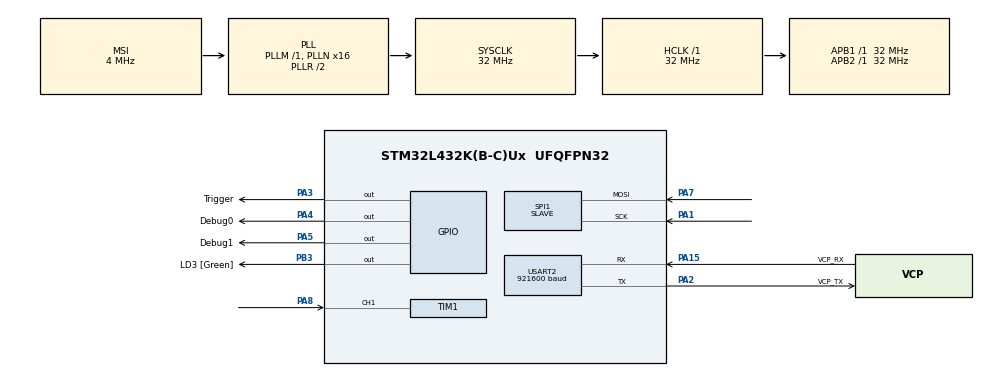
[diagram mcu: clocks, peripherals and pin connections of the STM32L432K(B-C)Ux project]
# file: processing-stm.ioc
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Dma.Request0=USART2_TX
Dma.Request1=SPI1_RX
Dma.SPI1_RX.1.Direction=DMA_PERIPH_TO_MEMORY
Dma.SPI1_RX.1.Instance=DMA1_Channel2
Dma.SPI1_RX.1.MemDataAlignment=DMA_MDATAALIGN_HALFWORD
Dma.SPI1_RX.1.MemInc=DMA_MINC_ENABLE
Dma.SPI1_RX.1.Mode=DMA_CIRCULAR
Dma.SPI1_RX.1.PeriphDataAlignment=DMA_PDATAALIGN_HALFWORD
Dma.SPI1_RX.1.PeriphInc=DMA_PINC_DISABLE
Dma.SPI1_RX.1.Priority=DMA_PRIORITY_LOW
Dma.USART2_TX.0.Direction=DMA_MEMORY_TO_PERIPH
Dma.USART2_TX.0.Instance=DMA1_Channel7
Dma.USART2_TX.0.MemDataAlignment=DMA_MDATAALIGN_BYTE
Dma.USART2_TX.0.MemInc=DMA_MINC_ENABLE
Dma.USART2_TX.0.Mode=DMA_NORMAL
Dma.USART2_TX.0.PeriphDataAlignment=DMA_PDATAALIGN_BYTE
Dma.USART2_TX.0.PeriphInc=DMA_PINC_DISABLE
Dma.USART2_TX.0.Priority=DMA_PRIORITY_LOW
Mcu.Family=STM32L4
Mcu.Name=STM32L432K(B-C)Ux
Mcu.Package=UFQFPN32
NVIC.DMA1_Channel2_IRQn=true\:0\:0\:false\:false\:true\:false\:true\:true
NVIC.DMA1_Channel7_IRQn=true\:0\:0\:false\:false\:true\:false\:true\:true
NVIC.PriorityGroup=NVIC_PRIORITYGROUP_4
NVIC.SPI1_IRQn=true\:0\:0\:false\:false\:true\:true\:true\:true
NVIC.TIM1_BRK_TIM15_IRQn=true\:0\:0\:false\:false\:true\:true\:true\:true
NVIC.TIM1_CC_IRQn=true\:0\:0\:false\:false\:true\:true\:true\:true
NVIC.TIM1_TRG_COM_IRQn=true\:0\:0\:false\:false\:true\:true\:true\:true
NVIC.TIM1_UP_TIM16_IRQn=true\:0\:0\:false\:false\:true\:true\:true\:true
NVIC.USART2_IRQn=true\:0\:0\:false\:false\:true\:true\:true\:true
PA0.GPIO_Label=MCO [High speed clock in]
PA0.Mode=HSE-External-Clock-Source-for-LittleOrca
PA0.Signal=RCC_CK_IN
PA1.Mode=RX_Only_Simplex_Unidirect_Slave
PA1.Signal=SPI1_SCK
PA13\ (JTMS-SWDIO).GPIO_Label=SWDIO
PA13\ (JTMS-SWDIO).Mode=Serial_Wire
PA13\ (JTMS-SWDIO).Signal=SYS_JTMS-SWDIO
PA14\ (JTCK-SWCLK).GPIO_Label=SWCLK
PA14\ (JTCK-SWCLK).Mode=Serial_Wire
PA14\ (JTCK-SWCLK).Signal=SYS_JTCK-SWCLK
PA15\ (JTDI).GPIO_Label=VCP_RX
PA15\ (JTDI).Mode=Asynchronous
PA15\ (JTDI).Signal=USART2_RX
PA2.GPIO_Label=VCP_TX
PA2.Mode=Asynchronous
PA2.Signal=USART2_TX
PA3.GPIO_Label=Trigger
PA3.Signal=GPIO_Output
PA4.GPIO_Label=Debug0
PA4.Signal=GPIO_Output
PA5.GPIO_Label=Debug1
PA5.Signal=GPIO_Output
PA7.Mode=RX_Only_Simplex_Unidirect_Slave
PA7.Signal=SPI1_MOSI
PA8.Signal=S_TIM1_CH1
PB3\ (JTDO-TRACESWO).GPIO_Label=LD3 [Green]
PB3\ (JTDO-TRACESWO).Signal=GPIO_Output
PC14-OSC32_IN\ (PC14).Mode=LSE-External-Oscillator
PC14-OSC32_IN\ (PC14).Signal=RCC_OSC32_IN
PC15-OSC32_OUT\ (PC15).Mode=LSE-External-Oscillator
PC15-OSC32_OUT\ (PC15).Signal=RCC_OSC32_OUT
ProjectManager.HeapSize=0x200
ProjectManager.StackSize=0x400
ProjectManager.TargetToolchain=STM32CubeIDE
RCC.AHBFreq_Value=32000000
RCC.APB1Freq_Value=32000000
RCC.APB1TimFreq_Value=32000000
RCC.APB2Freq_Value=32000000
RCC.APB2TimFreq_Value=32000000
RCC.CortexFreq_Value=32000000
RCC.HCLKFreq_Value=32000000
RCC.HSE_VALUE=8000000
RCC.HSI16_VALUE=16000000
RCC.HSI48_VALUE=48000000
RCC.HSI_VALUE=16000000
RCC.MSI_VALUE=4000000
RCC.PLLMUL=RCC_PLLMUL_4
RCC.PLLN=16
RCC.SYSCLKFreq_VALUE=32000000
RCC.SYSCLKSource=RCC_SYSCLKSOURCE_PLLCLK
RCC.VCOOutputFreq_Value=64000000
SH.S_TIM1_CH1.0=TIM1_CH1,Input_Capture1_from_TI1
SPI1.CRCCalculation=SPI_CRCCALCULATION_DISABLE
SPI1.DataSize=SPI_DATASIZE_16BIT
SPI1.Direction=SPI_DIRECTION_2LINES_RXONLY
SPI1.Mode=SPI_MODE_SLAVE
SPI1.VirtualType=VM_SLAVE
TIM1.Channel-Input_Capture1_from_TI1=TIM_CHANNEL_1
TIM1.Channel-Input_Capture2_from_TI1_63=TIM_CHANNEL_2
TIM1.ICPolarity_CH2=TIM_INPUTCHANNELPOLARITY_FALLING
TIM1.Prescaler=31
TIM16.Prescaler=31
TIM6.Prescaler=31
USART2.BaudRate=921600
USART2.VirtualMode-Asynchronous=VM_ASYNC
VP_TIM16_VS_ClockSourceINT.Mode=Enable_Timer
VP_TIM1_VS_indirect_ch1.Mode=Input_Capture2_from_TI1_63
VP_TIM6_VS_ClockSourceINT.Mode=Enable_Timer
board=NUCLEO-L432KC

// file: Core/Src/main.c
/* USER CODE BEGIN Header */
/**
  ******************************************************************************
  * @file           : main.c
  * @brief          : Main program body
  ******************************************************************************
  * @attention
  *
  * Copyright (c) 2026 STMicroelectronics.
  * All rights reserved.
  *
  * This software is licensed under terms that can be found in the LICENSE file
  * in the root directory of this software component.
  * If no LICENSE file comes with this software, it is provided AS-IS.
  *
  ******************************************************************************
  */
/* USER CODE END Header */
#include "main.h"
#include "stdlib.h"
#include "string.h"

SPI_HandleTypeDef hspi1;
DMA_HandleTypeDef hdma_spi1_rx;

TIM_HandleTypeDef htim1;
TIM_HandleTypeDef htim6;
TIM_HandleTypeDef htim16;

UART_HandleTypeDef huart2;
DMA_HandleTypeDef hdma_usart2_tx;

/* USER CODE BEGIN PV */

uint16_t previous_valid_value = 1985;

uint16_t received_value = 0;

uint16_t filtered_value = 0;

uint8_t buffer_8bit_1[2048];
uint8_t buffer_8bit_2[2048];

volatile int buffer_idx = 0;

volatile uint16_t write_idx = 0;

volatile uint8_t send_buf_1 = 0;
volatile uint8_t send_buf_2 = 0;

uint8_t receieved_metadata[2];

volatile int mode = -1;

 float desired_recording_duration;
 int desired_distance;

 int sent_packets = 0;

/* USER CODE END PV */

void SystemClock_Config(void);
static void MX_GPIO_Init(void);
static void MX_DMA_Init(void);
static void MX_USART2_UART_Init(void);
static void MX_TIM16_Init(void);
static void MX_TIM6_Init(void);
static void MX_TIM1_Init(void);
static void MX_SPI1_Init(void);

/* USER CODE BEGIN 0 */

// using volatile so the compiler won't cache the variables as they may change suddenly
volatile uint16_t t_rise = 0;
volatile uint16_t t_fall = 0;
volatile uint16_t pulse_width = 0;
volatile uint8_t data_ready = 0;
volatile int pulse_sent = 0;

void HAL_TIM_IC_CaptureCallback(TIM_HandleTypeDef *htim)
{
    if (htim->Instance == TIM1)
    {
        // rising edge (CH1) (echo sent)
        if (htim->Channel == HAL_TIM_ACTIVE_CHANNEL_1)
        {
            t_rise = HAL_TIM_ReadCapturedValue(htim, TIM_CHANNEL_1);
        }

        // falling edge (CH2) (echo recieved)
        else if (htim->Channel == HAL_TIM_ACTIVE_CHANNEL_2)
        {
            t_fall = HAL_TIM_ReadCapturedValue(htim, TIM_CHANNEL_2);

            pulse_width = (uint16_t)(t_fall - t_rise); // calculate the pulse width

            data_ready = 1; // flag the ultrasonic sensor code that the data is ready
        }
    }
}

uint32_t echo_time = 0;
uint32_t distance = 0;

uint32_t last_trigger_time = 0; // for our timeout

uint8_t debounce_count = 0;

uint8_t target_mode;

void ultrasonic_manager() {
	if (data_ready) { //if we've received a response

		float distance_cm = (pulse_width * 0.0343f) / 2.0f;

		data_ready = 0;
		pulse_sent = 0;

		__HAL_TIM_SET_COUNTER(&htim6, 0);

		if (desired_distance >= distance_cm) {
			target_mode = 1; //record
		}

		else {
			target_mode = 2; //don't record
		}

		if (target_mode == mode) {
			debounce_count = 0; // already in correct mode
		}

		else {
			debounce_count++;
		}

		if (debounce_count >= 3 || mode == 3) //if this is our first reading, don't worry about debouncing
				{
			mode = target_mode;
			HAL_GPIO_WritePin(LD3_GPIO_Port, LD3_Pin, (mode == 1));

			debounce_count = 0;
		}

	}

	// timeout fail safe (if echo never comes back)
	if (pulse_sent == 1 && (HAL_GetTick() - last_trigger_time > 100)) { //if its been more than 100ms, reset.

		pulse_sent = 0;
		__HAL_TIM_SET_COUNTER(&htim6, 0);

		target_mode = 2; //obj must be out of range

		//update debounce and state appropriately

		if (target_mode == mode) {
			debounce_count = 0; // already in correct mode
		}

		else {
			debounce_count++;
		}

		if (debounce_count >= 3 || mode == 3) //if this is our first reading, don't worry about debouncing
				{
			mode = target_mode;
			HAL_GPIO_WritePin(LD3_GPIO_Port, LD3_Pin, (mode == 1));

			debounce_count = 0;
		}

	}

	//send a pulse if hasn't sent a pulse and its waited 60ms
	if (pulse_sent == 0 && __HAL_TIM_GET_COUNTER(&htim6) > 60000) {

		HAL_GPIO_WritePin(Trigger_GPIO_Port, Trigger_Pin, 1);
		__HAL_TIM_SET_COUNTER(&htim16, 0);
		pulse_sent = 1;
		last_trigger_time = HAL_GetTick(); // record when we send the pulse

	}

	// end pulse if lasted more than 10us
	if (pulse_sent == 1 && __HAL_TIM_GET_COUNTER(&htim16) > 10) {

		HAL_GPIO_WritePin(Trigger_GPIO_Port, Trigger_Pin, 0);

	}

	return;
}

uint16_t sample_buffer[2] = {1985, 1985};
uint32_t running_sum = 1985 * 2;
uint16_t sample_index = 0;

uint16_t moving_average(uint16_t new_sample)
{
    // subtract old sample
    running_sum -= sample_buffer[sample_index];

    // store new sample
    sample_buffer[sample_index] = new_sample;

    // add new sample
    running_sum += new_sample;

    // move index
    sample_index = (sample_index + 1) % 2;

    // divide by actual valid sample count
    return (uint16_t)(running_sum / 2);
}

/* USER CODE END 0 */

int main(void)
{

  /* MCU Configuration--------------------------------------------------------*/

  /* Reset of all peripherals, Initializes the Flash interface and the Systick. */
  HAL_Init();

  /* Configure the system clock */
  SystemClock_Config();

  /* Initialize all configured peripherals */
  MX_GPIO_Init();
  MX_DMA_Init();
  MX_USART2_UART_Init();
  MX_TIM16_Init();
  MX_TIM6_Init();
  MX_TIM1_Init();
  MX_SPI1_Init();

  /* Infinite loop */
  /* USER CODE BEGIN WHILE */

  //int16_t received_value;

  HAL_TIM_Base_Start(&htim16);
  HAL_TIM_Base_Start(&htim6);

  HAL_TIM_IC_Start_IT(&htim1, TIM_CHANNEL_1);
  HAL_TIM_IC_Start_IT(&htim1, TIM_CHANNEL_2);

  HAL_SPI_Receive_DMA(&hspi1, (uint8_t*)&received_value, 1);

  HAL_UART_Receive_IT(&huart2, (uint8_t*)receieved_metadata, 2); //setup interrupt for uart2

  huart2.Instance->CR3 |= USART_CR3_DMAT;

  float recording_duration;

  while (1) {

		if (mode >= 1) {
			ultrasonic_manager();
		}

		if (mode >= 0) {

			if (send_buf_1) {
				send_buf_1 = 0;
				sent_packets++; //add to tally of packets sent

				HAL_UART_Transmit_DMA(&huart2, buffer_8bit_1, 2048);
			}

			else if (send_buf_2) {
				send_buf_2 = 0;
				sent_packets++;

				HAL_UART_Transmit_DMA(&huart2, buffer_8bit_2, 2048);
			}

			if (mode == 0) { //normal mode
				recording_duration = sent_packets * 0.0232199546; //calculate duration of current recording, it takes 23.2ms to send 1 packet

				if (recording_duration >= desired_recording_duration) { //check if recording has taken longer than requested duration. check mode 0 cause we have interrupts everywhere
					mode = -1; // stop recording
					HAL_GPIO_WritePin(LD3_GPIO_Port, LD3_Pin, 0);
				}
			}
		}

		/* USER CODE END WHILE */

	}
}

void SystemClock_Config(void)
{
  RCC_OscInitTypeDef RCC_OscInitStruct = {0};
  RCC_ClkInitTypeDef RCC_ClkInitStruct = {0};

  /** Configure the main internal regulator output voltage
  */
  if (HAL_PWREx_ControlVoltageScaling(PWR_REGULATOR_VOLTAGE_SCALE1) != HAL_OK)
  {
    Error_Handler();
  }

  /** Configure LSE Drive Capability
  */
  HAL_PWR_EnableBkUpAccess();
  __HAL_RCC_LSEDRIVE_CONFIG(RCC_LSEDRIVE_LOW);

  /** Initializes the RCC Oscillators according to the specified parameters
  * in the RCC_OscInitTypeDef structure.
  */
  RCC_OscInitStruct.OscillatorType = RCC_OSCILLATORTYPE_LSE|RCC_OSCILLATORTYPE_MSI;
  RCC_OscInitStruct.LSEState = RCC_LSE_ON;
  RCC_OscInitStruct.MSIState = RCC_MSI_ON;
  RCC_OscInitStruct.MSICalibrationValue = 0;
  RCC_OscInitStruct.MSIClockRange = RCC_MSIRANGE_6;
  RCC_OscInitStruct.PLL.PLLState = RCC_PLL_ON;
  RCC_OscInitStruct.PLL.PLLSource = RCC_PLLSOURCE_MSI;
  RCC_OscInitStruct.PLL.PLLM = 1;
  RCC_OscInitStruct.PLL.PLLN = 16;
  RCC_OscInitStruct.PLL.PLLP = RCC_PLLP_DIV7;
  RCC_OscInitStruct.PLL.PLLQ = RCC_PLLQ_DIV2;
  RCC_OscInitStruct.PLL.PLLR = RCC_PLLR_DIV2;
  if (HAL_RCC_OscConfig(&RCC_OscInitStruct) != HAL_OK)
  {
    Error_Handler();
  }

  /** Initializes the CPU, AHB and APB buses clocks
  */
  RCC_ClkInitStruct.ClockType = RCC_CLOCKTYPE_HCLK|RCC_CLOCKTYPE_SYSCLK
                              |RCC_CLOCKTYPE_PCLK1|RCC_CLOCKTYPE_PCLK2;
  RCC_ClkInitStruct.SYSCLKSource = RCC_SYSCLKSOURCE_PLLCLK;
  RCC_ClkInitStruct.AHBCLKDivider = RCC_SYSCLK_DIV1;
  RCC_ClkInitStruct.APB1CLKDivider = RCC_HCLK_DIV1;
  RCC_ClkInitStruct.APB2CLKDivider = RCC_HCLK_DIV1;

  if (HAL_RCC_ClockConfig(&RCC_ClkInitStruct, FLASH_LATENCY_1) != HAL_OK)
  {
    Error_Handler();
  }

  /** Enable MSI Auto calibration
  */
  HAL_RCCEx_EnableMSIPLLMode();
}

static void MX_SPI1_Init(void)
{

  /* SPI1 parameter configuration*/
  hspi1.Instance = SPI1;
  hspi1.Init.Mode = SPI_MODE_SLAVE;
  hspi1.Init.Direction = SPI_DIRECTION_2LINES_RXONLY;
  hspi1.Init.DataSize = SPI_DATASIZE_16BIT;
  hspi1.Init.CLKPolarity = SPI_POLARITY_LOW;
  hspi1.Init.CLKPhase = SPI_PHASE_1EDGE;
  hspi1.Init.NSS = SPI_NSS_SOFT;
  hspi1.Init.FirstBit = SPI_FIRSTBIT_MSB;
  hspi1.Init.TIMode = SPI_TIMODE_DISABLE;
  hspi1.Init.CRCCalculation = SPI_CRCCALCULATION_DISABLE;
  hspi1.Init.CRCPolynomial = 7;
  hspi1.Init.CRCLength = SPI_CRC_LENGTH_DATASIZE;
  hspi1.Init.NSSPMode = SPI_NSS_PULSE_DISABLE;
  if (HAL_SPI_Init(&hspi1) != HAL_OK)
  {
    Error_Handler();
  }

}

static void MX_TIM1_Init(void)
{

  TIM_MasterConfigTypeDef sMasterConfig = {0};
  TIM_IC_InitTypeDef sConfigIC = {0};

  htim1.Instance = TIM1;
  htim1.Init.Prescaler = 31;
  htim1.Init.CounterMode = TIM_COUNTERMODE_UP;
  htim1.Init.Period = 65535;
  htim1.Init.ClockDivision = TIM_CLOCKDIVISION_DIV1;
  htim1.Init.RepetitionCounter = 0;
  htim1.Init.AutoReloadPreload = TIM_AUTORELOAD_PRELOAD_DISABLE;
  if (HAL_TIM_IC_Init(&htim1) != HAL_OK)
  {
    Error_Handler();
  }
  sMasterConfig.MasterOutputTrigger = TIM_TRGO_RESET;
  sMasterConfig.MasterOutputTrigger2 = TIM_TRGO2_RESET;
  sMasterConfig.MasterSlaveMode = TIM_MASTERSLAVEMODE_DISABLE;
  if (HAL_TIMEx_MasterConfigSynchronization(&htim1, &sMasterConfig) != HAL_OK)
  {
    Error_Handler();
  }
  sConfigIC.ICPolarity = TIM_INPUTCHANNELPOLARITY_RISING;
  sConfigIC.ICSelection = TIM_ICSELECTION_DIRECTTI;
  sConfigIC.ICPrescaler = TIM_ICPSC_DIV1;
  sConfigIC.ICFilter = 0;
  if (HAL_TIM_IC_ConfigChannel(&htim1, &sConfigIC, TIM_CHANNEL_1) != HAL_OK)
  {
    Error_Handler();
  }
  sConfigIC.ICPolarity = TIM_INPUTCHANNELPOLARITY_FALLING;
  sConfigIC.ICSelection = TIM_ICSELECTION_INDIRECTTI;
  if (HAL_TIM_IC_ConfigChannel(&htim1, &sConfigIC, TIM_CHANNEL_2) != HAL_OK)
  {
    Error_Handler();
  }

}

static void MX_TIM6_Init(void)
{

  TIM_MasterConfigTypeDef sMasterConfig = {0};

  htim6.Instance = TIM6;
  htim6.Init.Prescaler = 31;
  htim6.Init.CounterMode = TIM_COUNTERMODE_UP;
  htim6.Init.Period = 65535;
  htim6.Init.AutoReloadPreload = TIM_AUTORELOAD_PRELOAD_DISABLE;
  if (HAL_TIM_Base_Init(&htim6) != HAL_OK)
  {
    Error_Handler();
  }
  sMasterConfig.MasterOutputTrigger = TIM_TRGO_RESET;
  sMasterConfig.MasterSlaveMode = TIM_MASTERSLAVEMODE_DISABLE;
  if (HAL_TIMEx_MasterConfigSynchronization(&htim6, &sMasterConfig) != HAL_OK)
  {
    Error_Handler();
  }

}

static void MX_TIM16_Init(void)
{

  htim16.Instance = TIM16;
  htim16.Init.Prescaler = 31;
  htim16.Init.CounterMode = TIM_COUNTERMODE_UP;
  htim16.Init.Period = 65535;
  htim16.Init.ClockDivision = TIM_CLOCKDIVISION_DIV1;
  htim16.Init.RepetitionCounter = 0;
  htim16.Init.AutoReloadPreload = TIM_AUTORELOAD_PRELOAD_DISABLE;
  if (HAL_TIM_Base_Init(&htim16) != HAL_OK)
  {
    Error_Handler();
  }

}

static void MX_USART2_UART_Init(void)
{

  huart2.Instance = USART2;
  huart2.Init.BaudRate = 921600;
  huart2.Init.WordLength = UART_WORDLENGTH_8B;
  huart2.Init.StopBits = UART_STOPBITS_1;
  huart2.Init.Parity = UART_PARITY_NONE;
  huart2.Init.Mode = UART_MODE_TX_RX;
  huart2.Init.HwFlowCtl = UART_HWCONTROL_NONE;
  huart2.Init.OverSampling = UART_OVERSAMPLING_16;
  huart2.Init.OneBitSampling = UART_ONE_BIT_SAMPLE_DISABLE;
  huart2.AdvancedInit.AdvFeatureInit = UART_ADVFEATURE_NO_INIT;
  if (HAL_UART_Init(&huart2) != HAL_OK)
  {
    Error_Handler();
  }

}

static void MX_DMA_Init(void)
{

  /* DMA controller clock enable */
  __HAL_RCC_DMA1_CLK_ENABLE();

  /* DMA interrupt init */
  /* DMA1_Channel2_IRQn interrupt configuration */
  HAL_NVIC_SetPriority(DMA1_Channel2_IRQn, 0, 0);
  HAL_NVIC_EnableIRQ(DMA1_Channel2_IRQn);
  /* DMA1_Channel7_IRQn interrupt configuration */
  HAL_NVIC_SetPriority(DMA1_Channel7_IRQn, 0, 0);
  HAL_NVIC_EnableIRQ(DMA1_Channel7_IRQn);

}

static void MX_GPIO_Init(void)
{
  GPIO_InitTypeDef GPIO_InitStruct = {0};

  /* GPIO Ports Clock Enable */
  __HAL_RCC_GPIOC_CLK_ENABLE();
  __HAL_RCC_GPIOA_CLK_ENABLE();
  __HAL_RCC_GPIOB_CLK_ENABLE();

  /*Configure GPIO pin Output Level */
  HAL_GPIO_WritePin(GPIOA, Trigger_Pin|Debug0_Pin|Debug1_Pin, GPIO_PIN_RESET);

  /*Configure GPIO pin Output Level */
  HAL_GPIO_WritePin(LD3_GPIO_Port, LD3_Pin, GPIO_PIN_RESET);

  /*Configure GPIO pins : Trigger_Pin Debug0_Pin Debug1_Pin */
  GPIO_InitStruct.Pin = Trigger_Pin|Debug0_Pin|Debug1_Pin;
  GPIO_InitStruct.Mode = GPIO_MODE_OUTPUT_PP;
  GPIO_InitStruct.Pull = GPIO_NOPULL;
  GPIO_InitStruct.Speed = GPIO_SPEED_FREQ_LOW;
  HAL_GPIO_Init(GPIOA, &GPIO_InitStruct);

  /*Configure GPIO pin : LD3_Pin */
  GPIO_InitStruct.Pin = LD3_Pin;
  GPIO_InitStruct.Mode = GPIO_MODE_OUTPUT_PP;
  GPIO_InitStruct.Pull = GPIO_NOPULL;
  GPIO_InitStruct.Speed = GPIO_SPEED_FREQ_LOW;
  HAL_GPIO_Init(LD3_GPIO_Port, &GPIO_InitStruct);

}

/* USER CODE BEGIN 4 */
void HAL_SPI_RxCpltCallback(SPI_HandleTypeDef *hspi)
{
	if (hspi->Instance == SPI1)
	    {

        if(mode <= 1){ // if in standard mode, OR transmitting via distance trigger

        // Outlier Removal, replaces values above 4025 with the previous value
		if(received_value > 4025){
			filtered_value = previous_valid_value;
		}

		else{
			filtered_value = moving_average(received_value);
			previous_valid_value = filtered_value;
		}

	        //adding value to the buffer

	        if (buffer_idx < 1024) { // if 1st buffer
	            uint16_t i = buffer_idx * 2; //calculate index in THIS buffer
	            buffer_8bit_1[i] = (filtered_value >> 8) & 0xFF; //fill buffer val 1
	            buffer_8bit_1[i + 1] = filtered_value & 0xFF; //fill buffer val 2

	            // flag when buffer 1 is full
	            if (buffer_idx == 1023) {
	                send_buf_1 = 1; //tell code to send buffer 1
	            }
	        }
	        else if (buffer_idx < 2048) { // if 2nd buffer in THIS buffer
	            uint16_t i = (buffer_idx - 1024) * 2; //calculate index
	            buffer_8bit_2[i]     = (filtered_value >> 8) & 0xFF; //fill buffer val 1
	            buffer_8bit_2[i + 1] = filtered_value & 0xFF; //fill buffer val 2

	            // flag exactly when buffer 2 is full
	            if (buffer_idx == 2047) {
	                send_buf_2 = 1;
	            }
	        }

	        buffer_idx++; //increment overall index

	        // wrap around
	        if (buffer_idx >= 2048) {
	            buffer_idx = 0;
	        }
        }

        else if(mode == 2){ //must be in distance trigger mode, but don't want to send real data.      not using a separate if statements (reducing code length) because technically this way is more efficient (and it seems to matter). what you gonna do.

        	if (buffer_idx < 1024) {
        		            uint16_t i = buffer_idx * 2;
        		            buffer_8bit_1[i] = 0x7; //hardcoded silence values (equates to 1985)
        		            buffer_8bit_1[i + 1] = 0xC1;

        		            if (buffer_idx == 1023) {
        		                send_buf_1 = 1;
        		            }
        		        }
        		        else if (buffer_idx < 2048) {
        		            uint16_t i = (buffer_idx - 1024) * 2;
        		            buffer_8bit_2[i] = 0x7; //hardcoded silence values
        		            buffer_8bit_2[i + 1] = 0xC1;

        		            if (buffer_idx == 2047) {
        		                send_buf_2 = 1;
        		            }
        		        }

        		        buffer_idx++;

        		        if (buffer_idx >= 2048) {
        		            buffer_idx = 0;
        		        }
        }

           //mode 3, the ultrasonic sensor doesn't have a reading. do nothing.

    }
}

void HAL_UART_RxCpltCallback(UART_HandleTypeDef *huart)
{
    if (huart->Instance == USART2) {

    	// reset the buffers and filtering

        sent_packets = 0;
        buffer_idx = 0;
        send_buf_1 = 0;
        send_buf_2 = 0;

        sample_buffer[0] = 1985;
        sample_buffer[1] = 1985;
        running_sum = 1985 * 2;
        sample_index = 0;

    	if(receieved_metadata[0] == 0){ //received mode 0
            HAL_GPIO_WritePin(LD3_GPIO_Port, LD3_Pin, 1);
    		mode = 0;
    		desired_recording_duration = receieved_metadata[1]; //save received recording duration
    	}

    	else if(receieved_metadata[0] == 1){
    		mode = 3; //put in mode 3 first, because we haven't checked ultrasonic sensor yet
    		desired_distance = receieved_metadata[1];
    	}

    	else if(receieved_metadata[0] == 2){
    	    mode = -1; //stop the recording
            HAL_GPIO_WritePin(LD3_GPIO_Port, LD3_Pin, 0);
    	}

        HAL_UART_Receive_IT(huart, receieved_metadata, 2); // restart interrupt
    }
}

void HAL_UART_TxCpltCallback(UART_HandleTypeDef *huart){
	HAL_GPIO_WritePin(Debug1_GPIO_Port, Debug1_Pin, 0);
}

void HAL_UART_ErrorCallback(UART_HandleTypeDef *huart) //in the event uart runs into an issue, restart
{
    if (huart->Instance == USART2)
    {
        __HAL_UART_CLEAR_OREFLAG(huart);
        __HAL_UART_CLEAR_FEFLAG(huart);
        __HAL_UART_CLEAR_NEFLAG(huart);

        HAL_UART_Receive_IT(huart, receieved_metadata, 2);
    }
}

/* USER CODE END 4 */

void Error_Handler(void)
{
  __disable_irq();
  while (1)
  {
  }
}
